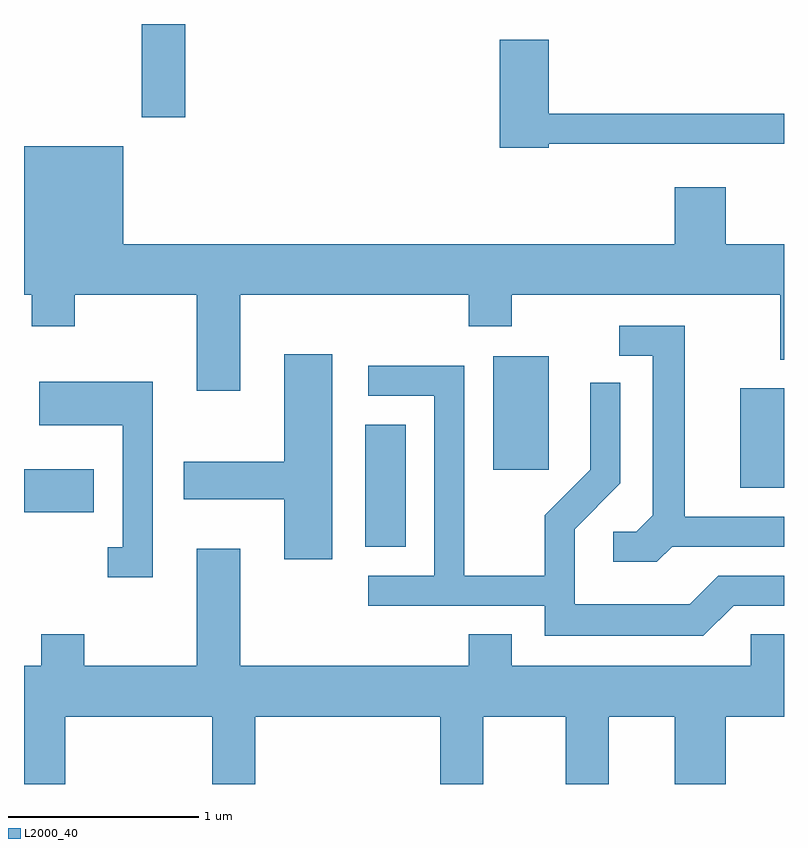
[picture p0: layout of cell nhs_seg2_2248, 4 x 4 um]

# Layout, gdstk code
import gdstk
lib = gdstk.Library(unit=1e-6, precision=1e-09)
def R(c, l, rs):  # rectangles x0, y0, x1, y1
    for r in rs: c.add(gdstk.rectangle(r[:2], r[2:], *l))
def P(c, l, *ps):  # polygons
    for p in ps: c.add(gdstk.Polygon(p, *l))
L2000_40 = (2000, 40)

nhs_seg2_2248 = lib.new_cell('nhs_seg2_2248')
R(nhs_seg2_2248, L2000_40, [(253.406,987.051,253.619,987.694), (251.611,987.231,251.979,987.459), (255.381,987.361,255.611,987.884), (254.081,987.456,254.374,988.054), (252.231,989.311,252.459,989.802)])
P(nhs_seg2_2248, L2000_40, [(254.374,989.171),(255.611,989.171),(255.611,989.329),(254.374,989.329),(254.374,989.719),(254.116,989.719),(254.116,989.151),(254.374,989.151)],
  [(252.749,988.376),(253.951,988.376),(253.951,988.211),(254.179,988.211),(254.179,988.376),(255.591,988.376),(255.591,988.036),(255.611,988.036),(255.611,988.644),(255.304,988.644),(255.304,988.944),(255.036,988.944),(255.036,988.644),(252.134,988.644),(252.134,989.159),(251.611,989.159),(251.611,988.376),(251.651,988.376),(251.651,988.211),(251.879,988.211),(251.879,988.376),(252.521,988.376),(252.521,987.871),(252.749,987.871)],
  [(255.022,987.051),(255.611,987.051),(255.611,987.209),(255.089,987.209),(255.089,988.214),(254.743,988.214),(254.743,988.056),(254.921,988.056),(254.921,987.217),(254.834,987.129),(254.713,987.129),(254.713,986.971),(254.942,986.971)],
  [(253.234,988.064),(252.981,988.064),(252.981,987.499),(252.451,987.499),(252.451,987.301),(252.981,987.301),(252.981,986.986),(253.234,986.986)],
  [(255.347,986.741),(255.611,986.741),(255.611,986.899),(255.264,986.899),(255.114,986.749),(254.509,986.749),(254.509,987.144),(254.749,987.384),(254.749,987.913),(254.591,987.913),(254.591,987.457),(254.351,987.217),(254.351,986.899),(253.929,986.899),(253.929,988.004),(253.423,988.004),(253.423,987.846),(253.771,987.846),(253.771,986.899),(253.423,986.899),(253.423,986.741),(254.351,986.741),(254.351,986.581),(255.187,986.581)],
  [(252.289,987.919),(251.691,987.919),(251.691,987.691),(252.131,987.691),(252.131,987.049),(252.053,987.049),(252.053,986.891),(252.289,986.891)],
  [(251.829,986.156),(252.601,986.156),(252.601,985.802),(252.829,985.802),(252.829,986.156),(253.801,986.156),(253.801,985.802),(254.029,985.802),(254.029,986.156),(254.461,986.156),(254.461,985.802),(254.689,985.802),(254.689,986.156),(255.036,986.156),(255.036,985.802),(255.304,985.802),(255.304,986.156),(255.611,986.156),(255.611,986.589),(255.436,986.589),(255.436,986.424),(254.179,986.424),(254.179,986.589),(253.951,986.589),(253.951,986.424),(252.749,986.424),(252.749,987.039),(252.521,987.039),(252.521,986.424),(251.929,986.424),(251.929,986.589),(251.701,986.589),(251.701,986.424),(251.611,986.424),(251.611,985.802),(251.829,985.802)])

lib.write_gds('nhs_seg2_2248.gds')
